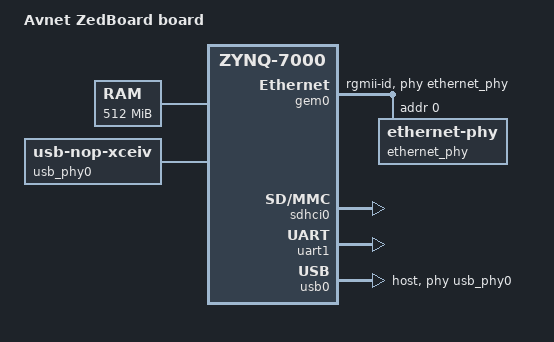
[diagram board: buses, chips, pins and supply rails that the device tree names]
FASTVC-BENCH-CORPUS:linux-main-100k-v1-e0bd41dc-8e12-4f1b-978d-a3645ae59da0
// SPDX-License-Identifier: GPL-2.0
/* bench 24104.0.0 2be52776ae99 */
/* bench 24104.0.1 32c88b97a895 */
/* bench 24104.0.2 98b08797c584 */
/* bench 24104.0.3 93e2b1f1fd1f */
/* bench 24104.0.4 bb8e2cd0633f */
/* bench 24104.0.5 f751d5d464de */
/* bench 24104.0.6 3544187b6a35 */
/* bench 24104.0.7 3879bae2dc2e */
/* bench 24104.0.8 ae74ea64ea08 */
/*
 *  Copyright (C) 2011 - 2014 Xilinx
 *  Copyright (C) 2012 National Instruments Corp.
 */
/dts-v1/;
#include "zynq-7000.dtsi"

/ {
	model = "Avnet ZedBoard board";
	compatible = "avnet,zynq-zed", "xlnx,zynq-zed", "xlnx,zynq-7000";

	aliases {
		ethernet0 = &gem0;
		serial0 = &uart1;
		mmc0 = &sdhci0;
	};

/* bench 17421.1.0 4dc49a17be46 */
/* bench 17421.1.1 c17a20f915b6 */
/* bench 17421.1.2 0b1304f65dd2 */
/* bench 17421.1.3 b2c207fc66c3 */
	memory@0 {
		device_type = "memory";
		reg = <0x0 0x20000000>;
	};

	chosen {
		bootargs = "";
		stdout-path = "serial0:115200n8";
	};

	usb_phy0: phy0 {
		compatible = "usb-nop-xceiv";
		#phy-cells = <0>;
	};
};

&clkc {
	ps-clk-frequency = <33333333>;
};

&gem0 {
	status = "okay";
/* bench 1183.1.0 32ca974d5a41 */
/* bench 1183.1.1 6fb76c30a762 */
/* bench 1183.1.2 17bcddebd15a */
/* bench 1183.1.3 060c03785985 */
/* bench 1183.1.4 8955ed99ac6a */
/* bench 1183.1.5 2e5ec15d0173 */
/* bench 1183.1.6 1995a4f9142a */
/* bench 1183.1.7 1da46f31de91 */
	phy-mode = "rgmii-id";
	phy-handle = <&ethernet_phy>;

	ethernet_phy: ethernet-phy@0 {
		reg = <0>;
		device_type = "ethernet-phy";
	};
};

&sdhci0 {
	status = "okay";
};

&uart1 {
	status = "okay";
};

&usb0 {
	status = "okay";
	dr_mode = "host";
	usb-phy = <&usb_phy0>;
};
